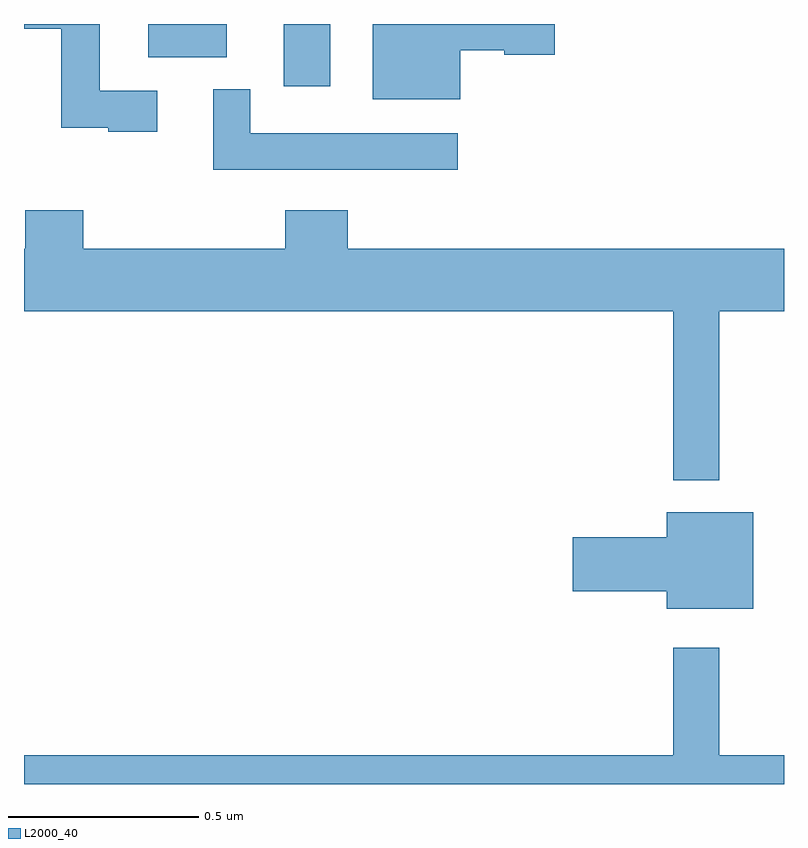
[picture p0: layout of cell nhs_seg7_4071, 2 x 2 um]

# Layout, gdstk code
import gdstk
lib = gdstk.Library(unit=1e-6, precision=1e-09)
def R(c, l, rs):  # rectangles x0, y0, x1, y1
    for r in rs: c.add(gdstk.rectangle(r[:2], r[2:], *l))
def P(c, l, *ps):  # polygons
    for p in ps: c.add(gdstk.Polygon(p, *l))
L2000_40 = (2000, 40)

nhs_seg7_4071 = lib.new_cell('nhs_seg7_4071')
R(nhs_seg7_4071, L2000_40, [(167.684,1039.836,167.806,1040), (167.327,1039.913,167.533,1040)])
P(nhs_seg7_4071, L2000_40, [(168.148,1039.931),(168.264,1039.931),(168.264,1039.919),(168.397,1039.919),(168.397,1040),(167.918,1040),(167.918,1039.802),(168.148,1039.802)],
  [(167.35,1039.824),(167.199,1039.824),(167.199,1040),(167,1040),(167,1039.987),(167.098,1039.987),(167.098,1039.727),(167.222,1039.727),(167.222,1039.716),(167.35,1039.716)],
  [(168.142,1039.713),(167.595,1039.713),(167.595,1039.828),(167.498,1039.828),(167.498,1039.617),(168.142,1039.617)],
  [(168.829,1039.244),(169,1039.244),(169,1039.408),(167.852,1039.408),(167.852,1039.51),(167.687,1039.51),(167.687,1039.408),(167.156,1039.408),(167.156,1039.51),(167.003,1039.51),(167.003,1039.408),(167,1039.408),(167,1039.244),(168.708,1039.244),(168.708,1038.8),(168.829,1038.8)],
  [(168.919,1038.715),(168.692,1038.715),(168.692,1038.65),(168.444,1038.65),(168.444,1038.507),(168.692,1038.507),(168.692,1038.461),(168.919,1038.461)],
  [(169,1038.076),(168.829,1038.076),(168.829,1038.358),(168.708,1038.358),(168.708,1038.076),(167,1038.076),(167,1038),(169,1038)])

lib.write_gds('nhs_seg7_4071.gds')
